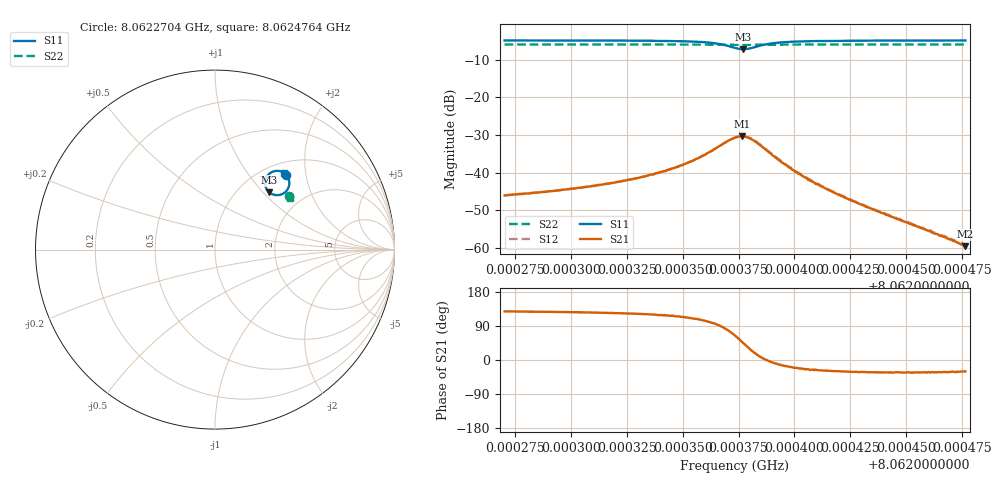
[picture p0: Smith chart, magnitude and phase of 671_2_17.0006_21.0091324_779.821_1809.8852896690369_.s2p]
#  HZ  S  RI  R  50.00
! Rohde & Schwarz Vector Network Analyzer
! Rohde-Schwarz,ZNB20-2Port,1311601062101988,3.16
! Created: UTC 3/20/2024, 11:22:10 PM
! freq[Hz]  re:S11  im:S11  re:S21  im:S21  re:S12  im:S12  re:S22  im:S22
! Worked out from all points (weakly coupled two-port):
!   401 points, 8.0622704 GHz to 8.0624764 GHz, reference 50 ohm
!   highest |S21| = -30.33 dB at 8.0623765 GHz (marker M1); lowest = -59.6 dB at 8.0624764 GHz (marker M2)
!   lowest |S11| = -7.1 dB at 8.062377 GHz (marker M3), VSWR 2.57, Z = 68.4 + j54.2 ohm
!   |S11| at or under -10 dB: nowhere
!   |S22| runs from -6.0 to -5.9 dB; largest |S21 - S12| = 0.0013
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8.06227043e9  0.3957 0.4182  -0.00307 0.00388  -0.00289 0.0041  0.4134 0.2964
8.06230493e9  0.4013 0.4112  -0.00369 0.0051  -0.00339 0.00539  0.4148 0.2944
8.06232347e9  0.4055 0.4047  -0.00424 0.00646  -0.00386 0.00673  0.4153 0.2932
8.06233944e9  0.4103 0.3941  -0.00473 0.00864  -0.00426 0.00904  0.416 0.2917
8.06234716e9  0.4129 0.3852  -0.00498 0.0107  -0.00456 0.0109  0.4162 0.2911
8.0623554e9  0.4144 0.3695  -0.00474 0.014  -0.0042 0.0143  0.4164 0.29
8.06236003e9  0.4126 0.3558  -0.00403 0.0168  -0.00313 0.0171  0.4161 0.2891
8.06236621e9  0.3999 0.3293  -0.000509 0.0222  0.000576 0.0221  0.4156 0.2879
8.06237342e9  0.3435 0.3033  0.0127 0.0264  0.0134 0.0259  0.413 0.287
8.06237651e9  0.3072 0.3159  0.0203 0.0226  0.0211 0.0221  0.4118 0.2878
8.06237703e9  0.3018 0.3199  0.0214 0.0214  0.0221 0.0211  0.4116 0.2881
8.06237909e9  0.2856 0.3413  0.0244 0.0163  0.0251 0.0159  0.411 0.289
8.06238166e9  0.2787 0.3713  0.025 0.00955  0.0258 0.00903  0.4111 0.2905
8.06238887e9  0.3034 0.4234  0.0183 -0.00116  0.0187 -0.00198  0.4133 0.2923
8.06239351e9  0.3222 0.4342  0.0139 -0.00306  0.0142 -0.00395  0.4144 0.2922
8.06239969e9  0.3399 0.4385  0.01 -0.00374  0.01 -0.00425  0.4155 0.2918
8.06240792e9  0.3547 0.4384  0.00683 -0.0033  0.00678 -0.00368  0.4165 0.2912
8.0624208e9  0.3676 0.4355  0.00422 -0.00245  0.00418 -0.00276  0.4174 0.2905
8.06244243e9  0.3785 0.4309  0.00222 -0.00144  0.00219 -0.00159  0.4185 0.2889
8.06245993e9  0.3834 0.4281  0.00143 -0.000886  0.00138 -0.001  0.4192 0.2878
8.06247281e9  0.3859 0.4266  0.00101 -0.000591  0.000958 -0.00066  0.4197 0.2872
8.06247641e9  0.3867 0.4261  0.000901 -0.000525  0.0009 -0.000626  0.4198 0.2869
